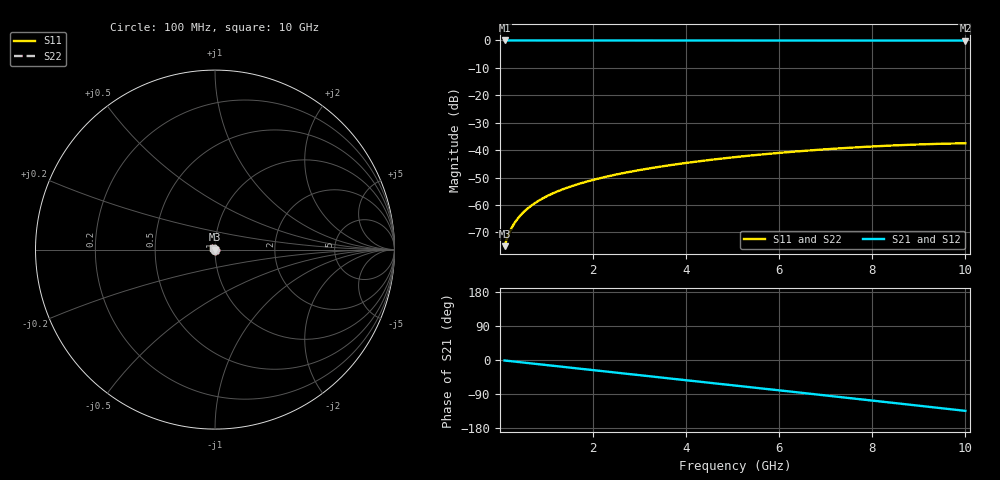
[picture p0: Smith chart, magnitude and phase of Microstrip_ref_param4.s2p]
! Sonnet Data File
! From: em Version : 18.58
! From Project: Microstrip_ref
! Data is De-embedded
! Data File Written: 05/20/2025 14:19:08
!< HDATE 12/30/2024 21:26:45
!< MDATE 12/30/2024 21:26:45
!< PARAMS
!< w = 240.0
!< END PARAMS
# GHZ S MA R 50.00000
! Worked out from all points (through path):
!   397 points, 100 MHz to 10 GHz, reference 50 ohm
!   highest |S21| = 0.00 dB at 100 MHz (marker M1); lowest = 0.0 dB at 10 GHz (marker M2)
!   group delay of S21, straight-line fit = 37.3 ps
!   lowest |S11| = -75.0 dB at 100 MHz (marker M3), VSWR 1.00, Z = 50 - j0.0131 ohm
!   |S11| at or under -10 dB: start of sweep to end of sweep
!   |S22| runs from -75.0 to -37.5 dB; largest |S21 - S12| = 5.3e-13
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0.1  0.0001781 -132.6  0.9999 -1.3  0.9999 -1.3  0.0001781 -132.6
0.125  0.000211 -129.2  0.9999 -1.7  0.9999 -1.7  0.000211 -129.2
0.175  0.0002786 -125.0  0.9998 -2.3  0.9998 -2.3  0.0002786 -125.0
0.225  0.0003474 -122.8  0.9998 -3.0  0.9998 -3.0  0.0003474 -122.8
0.3  0.0004516 -121.1  0.9998 -4.0  0.9998 -4.0  0.0004516 -121.1
0.425  0.0006267 -120.2  0.9997 -5.7  0.9997 -5.7  0.0006267 -120.2
0.6  0.000873 -120.7  0.9997 -8.0  0.9997 -8.0  0.000873 -120.7
0.825  0.001191 -122.4  0.9996 -11.0  0.9996 -11.0  0.001191 -122.4
1.075  0.001546 -124.8  0.9995 -14.3  0.9995 -14.3  0.001546 -124.8
1.375  0.001973 -128.1  0.9993 -18.3  0.9993 -18.3  0.001973 -128.1
1.75  0.002512 -132.4  0.9992 -23.3  0.9992 -23.3  0.002512 -132.4
2.1  0.003019 -136.5  0.999 -27.9  0.999 -27.9  0.003019 -136.5
2.475  0.003568 -140.9  0.9988 -32.9  0.9988 -32.9  0.003568 -140.9
3.4  0.004947 -151.9  0.9984 -45.3  0.9984 -45.3  0.004947 -151.9
4.25  0.006243 -162.0  0.998 -56.6  0.998 -56.6  0.006243 -162.0
5.05  0.007478 -171.4  0.9977 -67.3  0.9977 -67.3  0.007478 -171.4
5.875  0.008743 178.9  0.9973 -78.4  0.9973 -78.4  0.008743 178.9
6.7  0.009966 169.2  0.9969 -89.5  0.9969 -89.5  0.009966 169.2
7.525  0.0111 159.4  0.9965 -100.6  0.9965 -100.6  0.0111 159.4
8.35  0.01209 149.6  0.9961 -111.8  0.9961 -111.8  0.01209 149.6
9.15  0.01285 140.0  0.9957 -122.6  0.9957 -122.6  0.01285 140.0
10  0.01338 129.8  0.9953 -134.2  0.9953 -134.2  0.01338 129.8
